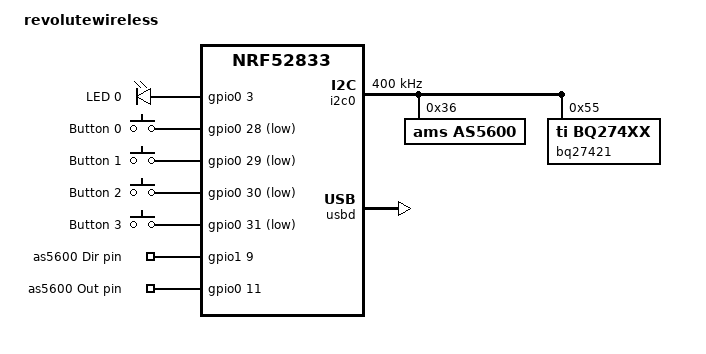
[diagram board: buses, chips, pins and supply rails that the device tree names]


/dts-v1/;
#include <nordic/nrf52833_qiaa.dtsi>
#include "revolutewireless-pinctrl.dtsi"

/ {
	model = "revolutewireless";
	compatible = "revolutewireless";

	chosen {
		zephyr,console = &cdc_acm_uart0;
		zephyr,shell-uart = &cdc_acm_uart0;
		zephyr,uart-mcumgr = &cdc_acm_uart0;
		zephyr,sram = &sram0;
		zephyr,flash = &flash0;
		zephyr,code-partition = &slot0_partition;
		zephyr,settings-partition = &storage_partition;

	};


	
	leds {
			compatible = "gpio-leds";
			blueled: led_0 {
					/* LED 0 on P0.03, LED on when pin is high */
					gpios = < &gpio0 3 GPIO_ACTIVE_HIGH >;
					label = "LED 0";
			};

	};







	buttons {
			compatible = "gpio-keys";
			/*
				* Add up to 4 total buttons in child nodes as shown here.
				*/
			button_right: button_0 {
					/* Button 0 on P0.11. Enable internal SoC pull-up
						* resistor and treat low level as pressed button. */
				gpios = <&gpio0 28 (GPIO_PULL_UP | GPIO_ACTIVE_LOW)>;
				label = "Button 0";
			};
			button_left: button_1 {
					/* Button 1 on P0.12. Enable internal pull-down resistor.
						* Treat high level as pressed button. */
				gpios = <&gpio0 29 (GPIO_PULL_UP | GPIO_ACTIVE_LOW)>;
				label = "Button 1";
			};
			button_up: button_2 {
					/* Button 2 on P1.12, enable internal pull-up,
						* low level is pressed. */
				gpios = <&gpio0 30 (GPIO_PULL_UP | GPIO_ACTIVE_LOW)>;
				label = "Button 2";
			};
			button_down: button_3 {
					/* Button 3 on P1.15, no internal pull resistor,
						* low is pressed. */
				gpios = <&gpio0 31 (GPIO_PULL_UP | GPIO_ACTIVE_LOW)>;
				label = "Button 3";
			};
			AS5600_DIR: dir {

				gpios = <&gpio1 9 (GPIO_PULL_DOWN | GPIO_ACTIVE_HIGH)>;
				label = "as5600 Dir pin";
			};
			AS5600_OUT: out {

				gpios = <&gpio0 11 (GPIO_PULL_DOWN | GPIO_ACTIVE_HIGH)>;
				label = "as5600 Out pin";

			};
	};


	

	/* These aliases are provided for compatibility with samples */
	aliases {

		led0 = &blueled;
		sw0 = &button_right;
		sw1 = &button_left;
		sw2 = &button_up;
		sw3 = &button_down;
		asdir = &AS5600_DIR;
		asout = &AS5600_OUT;

	};
};

&gpiote {
	status = "okay";
};

&gpio0 {
	status = "okay";
};

&gpio1 {
	status = "okay";
};



 
&flash0 {
	partitions {
		compatible = "fixed-partitions";
		#address-cells = <1>;
		#size-cells = <1>;

		boot_partition: partition@0 {
			label = "mcuboot";
			reg = <0x00000000 0xC000>;
		};
		slot0_partition: partition@c000 {
			label = "image-0";
			reg = <0x0000C000 0x37000>;
		};
		slot1_partition: partition@43000 {
			label = "image-1";
			reg = <0x00043000 0x37000>;
		};
		storage_partition: partition@7a000 {
			label = "storage";
			reg = <0x0007A000 0x00006000>;
		};
	};
};



&i2c0 {

	status = "okay";

	clock-frequency = <I2C_BITRATE_FAST>;
	pinctrl-0 = <&i2c0_default>;
	pinctrl-1 = <&i2c0_sleep>;
	pinctrl-names = "default", "sleep";
	
	as5600: as5600@36 {
		compatible = "ams,as5600";
		reg = <0x36>;
		status = "okay";
	};

	bq27421@55 {
		compatible = "ti,bq274xx";
		reg = <0x55>;
		design-voltage = <3700>;
		design-capacity = <40>;
		taper-current = <45>;
		terminate-voltage = <3000>;
		status = "okay";
	};

};



zephyr_udc0: &usbd {
	compatible = "nordic,nrf-usbd";
	status = "okay";

	cdc_acm_uart0: cdc_acm_uart0 {
		compatible = "zephyr,cdc-acm-uart";
	};
	
};


